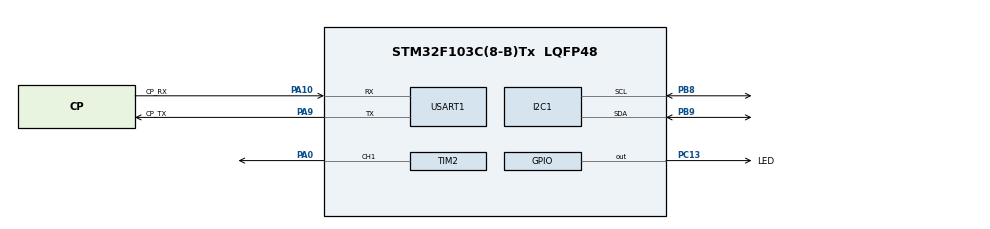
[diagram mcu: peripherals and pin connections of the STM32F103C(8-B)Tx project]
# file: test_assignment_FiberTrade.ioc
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Mcu.Family=STM32F1
Mcu.Name=STM32F103C(8-B)Tx
Mcu.Package=LQFP48
NVIC.PriorityGroup=NVIC_PRIORITYGROUP_4
NVIC.USART1_IRQn=true\:0\:0\:false\:false\:true\:true\:true\:true
PA0-WKUP.Signal=S_TIM2_CH1_ETR
PA10.GPIO_Label=CP_RX
PA10.Mode=Asynchronous
PA10.Signal=USART1_RX
PA13.Mode=Serial_Wire
PA13.Signal=SYS_JTMS-SWDIO
PA14.Mode=Serial_Wire
PA14.Signal=SYS_JTCK-SWCLK
PA9.GPIO_Label=CP_TX
PA9.Mode=Asynchronous
PA9.Signal=USART1_TX
PB8.Mode=I2C
PB8.Signal=I2C1_SCL
PB9.Mode=I2C
PB9.Signal=I2C1_SDA
PC13-TAMPER-RTC.GPIO_Label=LED
PC13-TAMPER-RTC.GPIO_PuPd=GPIO_NOPULL
PC13-TAMPER-RTC.PinState=GPIO_PIN_SET
PC13-TAMPER-RTC.Signal=GPIO_Output
PD0-OSC_IN.Mode=HSE-External-Oscillator
PD0-OSC_IN.Signal=RCC_OSC_IN
PD1-OSC_OUT.Mode=HSE-External-Oscillator
PD1-OSC_OUT.Signal=RCC_OSC_OUT
ProjectManager.HeapSize=0x200
ProjectManager.StackSize=0x400
ProjectManager.TargetToolchain=STM32CubeIDE
RCC.AHBFreq_Value=72000000
RCC.APB1CLKDivider=RCC_HCLK_DIV2
RCC.APB1Freq_Value=36000000
RCC.APB1TimFreq_Value=72000000
RCC.APB2Freq_Value=72000000
RCC.APB2TimFreq_Value=72000000
RCC.HCLKFreq_Value=72000000
RCC.PLLMUL=RCC_PLL_MUL9
RCC.PLLSourceVirtual=RCC_PLLSOURCE_HSE
RCC.SYSCLKFreq_VALUE=72000000
RCC.SYSCLKSource=RCC_SYSCLKSOURCE_PLLCLK
RCC.USBFreq_Value=72000000
SH.S_TIM2_CH1_ETR.0=TIM2_CH1,PWM Generation1 CH1
TIM2.AutoReloadPreload=TIM_AUTORELOAD_PRELOAD_ENABLE
TIM2.Channel-PWM\ Generation1\ CH1=TIM_CHANNEL_1
USART1.VirtualMode=VM_ASYNC
VP_TIM2_VS_ClockSourceINT.Mode=Internal
board=custom

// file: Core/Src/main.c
/* USER CODE BEGIN Header */
/**
  ******************************************************************************
  * @file           : main.c
  * @brief          : Main program body
  ******************************************************************************
  * @attention
  *
  * Copyright (c) 2025 STMicroelectronics.
  * All rights reserved.
  *
  * This software is licensed under terms that can be found in the LICENSE file
  * in the root directory of this software component.
  * If no LICENSE file comes with this software, it is provided AS-IS.
  *
  ******************************************************************************
  */
/* USER CODE END Header */
#include "main.h"
#include "i2c.h"
#include "tim.h"
#include "usart.h"
#include "gpio.h"

/* USER CODE BEGIN Includes */
#include "led_drv.h"
#include "ring_buf.h"
#include <string.h>
#include "parsing_msg.h"
#include "i2c.h"
#include "uart.h"
/* USER CODE END Includes */

void SystemClock_Config(void);

/* USER CODE BEGIN 0 */
RING_buffer_t g_have_cmd;
/* USER CODE END 0 */

int main(void)
{

  /* USER CODE BEGIN 1 */
#define I2C_SLAVE_ADDR          0xA0
#define I2C_READ_DATA_SZ        0X80
  /* USER CODE END 1 */

  /* MCU Configuration--------------------------------------------------------*/

  /* Reset of all peripherals, Initializes the Flash interface and the Systick. */
  HAL_Init();

  /* Configure the system clock */
  SystemClock_Config();

  /* Initialize all configured peripherals */
  MX_GPIO_Init();
  MX_USART1_UART_Init();
  MX_I2C1_Init();
  MX_TIM2_Init();
  /* USER CODE BEGIN 2 */
    //Включаем прерывания по приходу данных и при ошибках
    LL_USART_EnableIT_RXNE(USART1);
    LL_USART_EnableIT_ERROR(USART1);
    //Запуск генерации сигналов ШИМ
    HAL_TIM_PWM_Start(&htim2, TIM_CHANNEL_1);

    extern RING_buffer_t g_rx_buff;

    //Создаём статические массивы для использования в качестве кольцевых буферов
    uint8_t rxbuff_data[RING_BUFF_SZ];
    uint8_t havecmd_data[RING_BUFF_SZ];

    RING_init(&g_rx_buff, rxbuff_data, RING_BUFF_SZ);             //Инициализация кольцевых буферов
    RING_init(&g_have_cmd, havecmd_data, RING_BUFF_SZ);           //Инициализация кольцевых буферов

  /* USER CODE END 2 */

  /* Infinite loop */
  /* USER CODE BEGIN WHILE */
  //Буфер для чтения данных по i2c
  uint8_t i2c_buff[I2C_READ_DATA_SZ];
  while (1)
  {
      //Парсиг приёмного буфера uart для получения пришедших сообщений
      get_msg(&g_rx_buff, &g_have_cmd);

      //Проверяем буфер полученных команд
      if (RING_get_count(&g_have_cmd) > 0) {
          //Получаем команду
          Receive_msg_t msg = RING_pop(&g_have_cmd);
          //Вызов функции для реализации полученной команды
          if (msg == LED1_ON) {
              led1_on();
          } else if (msg == LED1_OFF) {
              led1_off();
          } else if (msg == LED2_ON) {
              led2_on();
          } else if (msg == LED2_OFF) {
              led2_off();
          } else if (msg == READ_I2C) {
              //Получаем данные по i2c
              read_i2c(I2C_SLAVE_ADDR, i2c_buff, I2C_READ_DATA_SZ);
              //Отправляем данные по uart
              UART_TX(i2c_buff, I2C_READ_DATA_SZ);
          }

      }
      //Задержка
      LL_mDelay(100);
    /* USER CODE END WHILE */

  }
}

void SystemClock_Config(void)
{
  LL_FLASH_SetLatency(LL_FLASH_LATENCY_2);
  while(LL_FLASH_GetLatency()!= LL_FLASH_LATENCY_2)
  {
  }
  LL_RCC_HSE_Enable();

   /* Wait till HSE is ready */
  while(LL_RCC_HSE_IsReady() != 1)
  {

  }
  LL_RCC_PLL_ConfigDomain_SYS(LL_RCC_PLLSOURCE_HSE_DIV_1, LL_RCC_PLL_MUL_9);
  LL_RCC_PLL_Enable();

   /* Wait till PLL is ready */
  while(LL_RCC_PLL_IsReady() != 1)
  {

  }
  LL_RCC_SetAHBPrescaler(LL_RCC_SYSCLK_DIV_1);
  LL_RCC_SetAPB1Prescaler(LL_RCC_APB1_DIV_2);
  LL_RCC_SetAPB2Prescaler(LL_RCC_APB2_DIV_1);
  LL_RCC_SetSysClkSource(LL_RCC_SYS_CLKSOURCE_PLL);

   /* Wait till System clock is ready */
  while(LL_RCC_GetSysClkSource() != LL_RCC_SYS_CLKSOURCE_STATUS_PLL)
  {

  }
  LL_SetSystemCoreClock(72000000);

   /* Update the time base */
  if (HAL_InitTick (TICK_INT_PRIORITY) != HAL_OK)
  {
    Error_Handler();
  }
}

void Error_Handler(void)
{
  __disable_irq();
  while (1)
  {
  }
}
